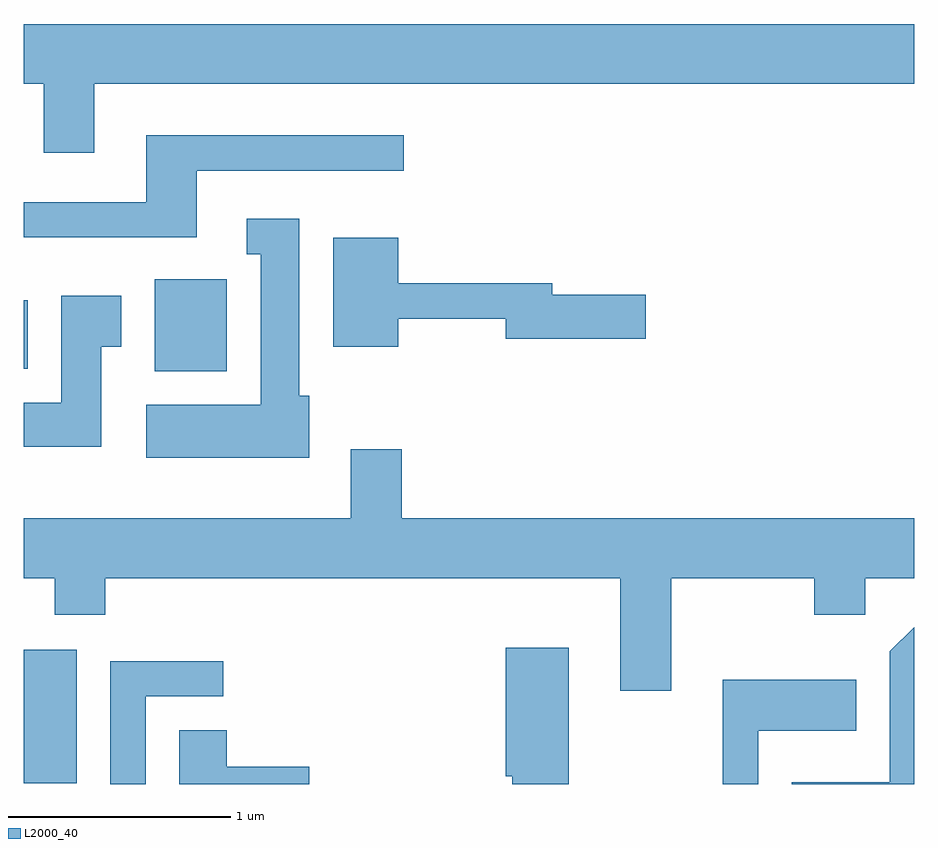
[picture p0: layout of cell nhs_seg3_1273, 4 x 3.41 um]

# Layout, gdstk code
import gdstk
lib = gdstk.Library(unit=1e-6, precision=1e-09)
def R(c, l, rs):  # rectangles x0, y0, x1, y1
    for r in rs: c.add(gdstk.rectangle(r[:2], r[2:], *l))
def P(c, l, *ps):  # polygons
    for p in ps: c.add(gdstk.Polygon(p, *l))
L2000_40 = (2000, 40)

nhs_seg3_1273 = lib.new_cell('nhs_seg3_1273')
R(nhs_seg3_1273, L2000_40, [(221.611,1213.896,221.849,1214.494), (222.201,1215.746,222.524,1216.159), (221.611,1215.756,221.629,1216.064)])
P(nhs_seg3_1273, L2000_40, [(221.929,1217.036),(225.611,1217.036),(225.611,1217.304),(221.611,1217.304),(221.611,1217.036),(221.701,1217.036),(221.701,1216.726),(221.929,1216.726)],
  [(222.389,1216.646),(223.318,1216.646),(223.318,1216.804),(222.161,1216.804),(222.161,1216.504),(221.611,1216.504),(221.611,1216.346),(222.389,1216.346)],
  [(222.894,1215.634),(222.849,1215.634),(222.849,1216.429),(222.613,1216.429),(222.613,1216.271),(222.676,1216.271),(222.676,1215.594),(222.161,1215.594),(222.161,1215.356),(222.894,1215.356)],
  [(223.294,1215.981),(223.776,1215.981),(223.776,1215.891),(224.404,1215.891),(224.404,1216.089),(223.984,1216.089),(223.984,1216.139),(223.294,1216.139),(223.294,1216.344),(223.001,1216.344),(223.001,1215.856),(223.294,1215.856)],
  [(221.959,1215.856),(222.049,1215.856),(222.049,1216.084),(221.781,1216.084),(221.781,1215.604),(221.611,1215.604),(221.611,1215.406),(221.959,1215.406)],
  [(224.519,1214.816),(225.161,1214.816),(225.161,1214.651),(225.389,1214.651),(225.389,1214.816),(225.611,1214.816),(225.611,1215.084),(223.309,1215.084),(223.309,1215.394),(223.081,1215.394),(223.081,1215.084),(221.611,1215.084),(221.611,1214.816),(221.751,1214.816),(221.751,1214.651),(221.979,1214.651),(221.979,1214.816),(224.291,1214.816),(224.291,1214.311),(224.519,1214.311)],
  [(225.611,1214.596),(225.501,1214.487),(225.501,1213.899),(225.061,1213.899),(225.061,1213.892),(225.611,1213.892)],
  [(224.059,1214.504),(223.776,1214.504),(223.776,1213.926),(223.806,1213.926),(223.806,1213.892),(224.059,1213.892)],
  [(222.159,1214.286),(222.508,1214.286),(222.508,1214.444),(222.001,1214.444),(222.001,1213.892),(222.159,1213.892)],
  [(224.909,1214.131),(225.349,1214.131),(225.349,1214.359),(224.751,1214.359),(224.751,1213.892),(224.909,1213.892)],
  [(222.894,1213.969),(222.524,1213.969),(222.524,1214.134),(222.311,1214.134),(222.311,1213.892),(222.894,1213.892)])

lib.write_gds('nhs_seg3_1273.gds')
